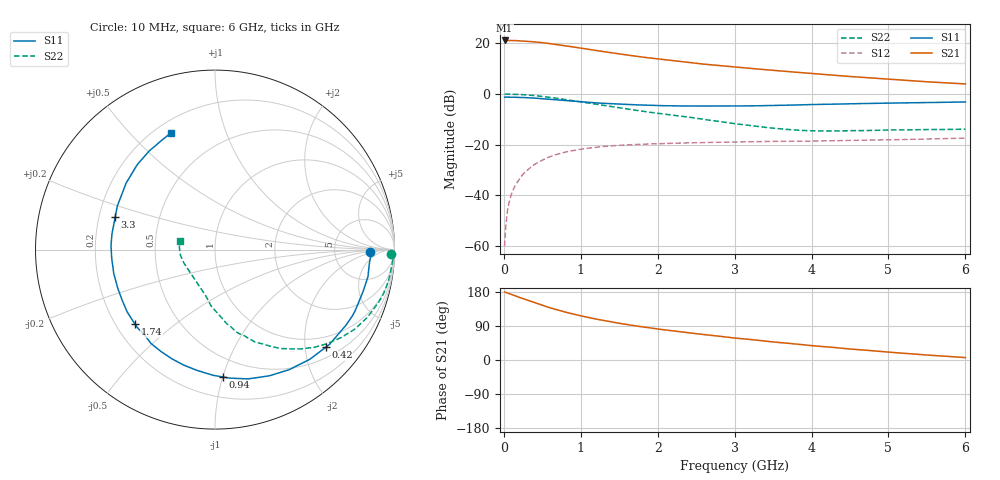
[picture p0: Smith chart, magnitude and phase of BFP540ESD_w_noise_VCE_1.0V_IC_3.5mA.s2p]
! Infineon Technologies  Discrete & RF Semiconductors
! BFP540ESD
! VCE =  1.0 V,  IC =  3.5 mA
! Common Emitter S-Parameters:  Nov 2015
# GHz  S  MA  R  50
!  f  S11  S21  S12  S22
! GHz  MAG  ANG  MAG  ANG  MAG  ANG  MAG  ANG
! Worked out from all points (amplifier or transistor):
!   210 points, 10 MHz to 6 GHz, reference 50 ohm
!   highest |S21| = 21.1 dB at 10 MHz (marker M1)
!   |S21| within 3 dB of that: start of sweep to 993 MHz
!   unconditionally stable (mu >= 1): 3.657 GHz to end of sweep
!   at 185 MHz: K = 0.03, MSG = 27.7 dB, |S12| = -34.3 dB
!   at 1.52 GHz: K = 0.40, MSG = 18.0 dB, |S12| = -20.2 dB
!   at 6 GHz: K = 1.29, MAG = 7.5 dB, |S12| = -17.4 dB
!   lowest NFmin = 0.64 dB at 900 MHz
!   S11 on the Smith chart (normalised r, x): 10 MHz: 13, -1; 420 MHz: 0.73, -2.46; 940 MHz: 0.35, -1.00; 1.74 GHz: 0.28, -0.37; 3.3 GHz: 0.27, +0.15; 6 GHz: 0.26, +0.66
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0.01  0.8613 -0.9  11.33 179.3  0.001 74.7  0.9825 -1.3
0.025  0.8669 -2.9  11.29 178.5  0.0024 96.3  0.9936 -1.5
0.045  0.864 -4.7  11.29 176.8  0.0047 86.7  0.9923 -2.8
0.1  0.8655 -10.0  11.32 172.9  0.0107 84.4  0.9881 -6.1
0.15  0.8587 -15.0  11.27 169.3  0.0158 83.2  0.9838 -9.2
0.26  0.8498 -25.8  11.04 161.2  0.0272 77.6  0.9661 -15.8
0.42  0.8224 -41.4  10.55 149.8  0.0427 69.9  0.9216 -25.1
0.5  0.8079 -49.2  10.29 144.2  0.0497 66.1  0.8958 -29.7
0.62  0.7807 -60.0  9.719 136.6  0.0595 60.3  0.8487 -35.8
0.8  0.7434 -75.7  8.912 126.3  0.0716 52.9  0.7758 -44.6
0.94  0.7112 -86.4  8.252 119.4  0.0785 47.9  0.7196 -50.2
1.02  0.6955 -92.3  7.903 115.7  0.0823 45.3  0.6888 -53.5
1.2  0.6662 -105.4  7.162 107.9  0.0889 40.0  0.6245 -59.8
1.4  0.6426 -117.9  6.474 100.5  0.0948 35.0  0.5607 -66.6
1.74  0.6086 -137.2  5.487 89.2  0.101 28.5  0.472 -75.5
2.02  0.5902 -150.8  4.861 81.2  0.1046 24.8  0.4134 -81.4
2.6  0.5777 -174.6  3.868 67.1  0.1102 18.6  0.3142 -94.0
3.1  0.5803 168.3  3.293 56.2  0.1133 15.3  0.249 -104.6
3.3  0.5847 162.1  3.098 52.1  0.1148 14.0  0.2287 -110.6
4.1  0.6213 141.0  2.464 36.3  0.1184 9.7  0.1867 -142.2
5.1  0.6632 122.1  1.911 19.2  0.1254 6.3  0.1949 -173.0
6  0.6955 110.4  1.575 6.3  0.1347 4.6  0.2022 165.5
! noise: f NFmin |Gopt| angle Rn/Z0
0.9  0.64  0.22  44  0.14
1.8  0.9  0.18  97  0.12
2.4  0.92  0.21  112  0.1
3  1.1  0.26  147  0.09
4  1.35  0.28  -137  0.14
5  1.65  0.41  -105  0.31
6  1.85  0.54  -104  0.47
